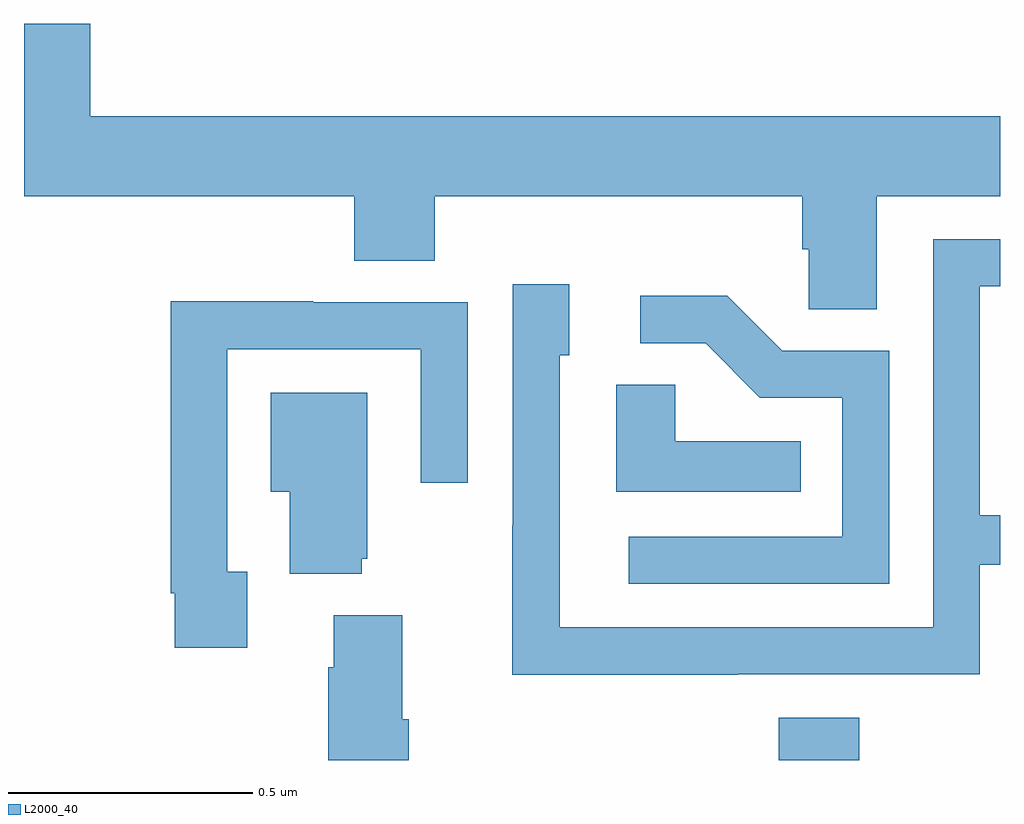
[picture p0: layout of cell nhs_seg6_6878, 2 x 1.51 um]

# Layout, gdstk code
import gdstk
lib = gdstk.Library(unit=1e-6, precision=1e-09)
def R(c, l, rs):  # rectangles x0, y0, x1, y1
    for r in rs: c.add(gdstk.rectangle(r[:2], r[2:], *l))
def P(c, l, *ps):  # polygons
    for p in ps: c.add(gdstk.Polygon(p, *l))
L2000_40 = (2000, 40)

nhs_seg6_6878 = lib.new_cell('nhs_seg6_6878')
R(nhs_seg6_6878, L2000_40, [(202.547,959.5,202.712,959.587)])
P(nhs_seg6_6878, L2000_40, [(202.747,960.656),(203,960.656),(203,960.82),(201.136,960.82),(201.136,961.009),(201,961.009),(201,960.656),(201.677,960.656),(201.677,960.523),(201.842,960.523),(201.842,960.656),(202.595,960.656),(202.595,960.547),(202.608,960.547),(202.608,960.424),(202.747,960.424)],
  [(202.463,959.676),(202.959,959.676),(202.959,959.901),(203,959.901),(203,960.002),(202.959,960.002),(202.959,960.471),(203,960.471),(203,960.567),(202.863,960.567),(202.863,959.772),(202.098,959.772),(202.098,960.33),(202.117,960.33),(202.117,960.475),(202.002,960.475),(202.002,959.981),(202,959.981),(202,959.675),(202.463,959.675)],
  [(202.773,960.339),(202.554,960.339),(202.441,960.452),(202.263,960.452),(202.263,960.354),(202.397,960.354),(202.508,960.243),(202.677,960.243),(202.677,959.958),(202.239,959.958),(202.239,959.862),(202.773,959.862)],
  [(201.457,959.886),(201.417,959.886),(201.417,960.342),(201.813,960.342),(201.813,960.069),(201.909,960.069),(201.909,960.438),(201.593,960.438),(201.593,960.44),(201.301,960.44),(201.301,959.842),(201.309,959.842),(201.309,959.73),(201.457,959.73)],
  [(202.592,960.154),(202.335,960.154),(202.335,960.269),(202.214,960.269),(202.214,960.05),(202.592,960.05)],
  [(201.692,959.913),(201.703,959.913),(201.703,960.253),(201.506,960.253),(201.506,960.05),(201.545,960.05),(201.545,959.882),(201.692,959.882)],
  [(201.788,959.584),(201.775,959.584),(201.775,959.797),(201.635,959.797),(201.635,959.69),(201.623,959.69),(201.623,959.5),(201.788,959.5)])

lib.write_gds('nhs_seg6_6878.gds')
